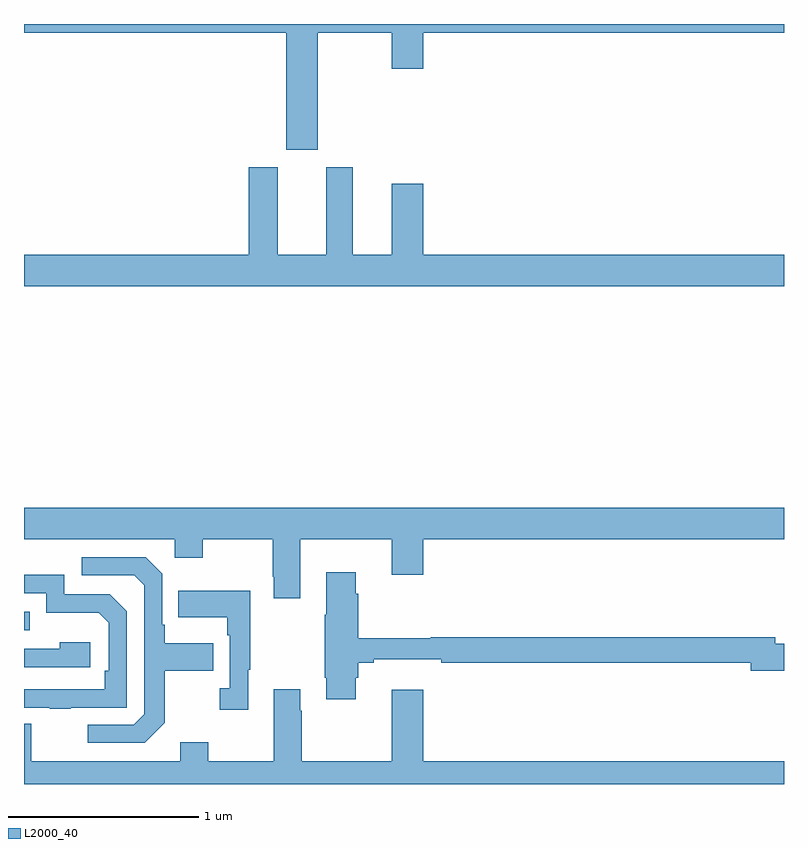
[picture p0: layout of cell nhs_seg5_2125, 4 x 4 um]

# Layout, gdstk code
import gdstk
lib = gdstk.Library(unit=1e-6, precision=1e-09)
def R(c, l, rs):  # rectangles x0, y0, x1, y1
    for r in rs: c.add(gdstk.rectangle(r[:2], r[2:], *l))
def P(c, l, *ps):  # polygons
    for p in ps: c.add(gdstk.Polygon(p, *l))
L2000_40 = (2000, 40)

nhs_seg5_2125 = lib.new_cell('nhs_seg5_2125')
R(nhs_seg5_2125, L2000_40, [(235,861.609,235.031,861.705)])
P(nhs_seg5_2125, L2000_40, [(236.545,864.752),(236.936,864.752),(236.936,864.564),(237.1,864.564),(237.1,864.752),(239,864.752),(239,864.799),(235,864.799),(235,864.752),(236.381,864.752),(236.381,864.138),(236.545,864.138)],
  [(239,863.584),(237.1,863.584),(237.1,863.959),(236.936,863.959),(236.936,863.584),(236.731,863.584),(236.731,864.046),(236.591,864.046),(236.591,863.584),(236.335,863.584),(236.335,864.046),(236.183,864.046),(236.183,863.584),(235,863.584),(235,863.42),(239,863.42)],
  [(236.455,862.088),(236.936,862.088),(236.936,861.9),(237.1,861.9),(237.1,862.088),(239,862.088),(239,862.252),(235,862.252),(235,862.088),(235.794,862.088),(235.794,861.989),(235.941,861.989),(235.941,862.088),(236.308,862.088),(236.308,861.889),(236.315,861.889),(236.315,861.777),(236.455,861.777)],
  [(235.741,861.121),(235.741,861.394),(235.997,861.394),(235.997,861.541),(235.741,861.541),(235.741,861.637),(235.728,861.637),(235.728,861.906),(235.641,861.993),(235.305,861.993),(235.305,861.897),(235.581,861.897),(235.632,861.846),(235.632,861.165),(235.578,861.111),(235.335,861.111),(235.335,861.015),(235.635,861.015)],
  [(236.746,861.359),(236.759,861.359),(236.759,861.436),(236.842,861.436),(236.842,861.455),(237.196,861.455),(237.196,861.436),(238.826,861.436),(238.826,861.394),(239,861.394),(239,861.536),(238.954,861.536),(238.954,861.572),(237.142,861.572),(237.142,861.565),(236.759,861.565),(236.759,861.8),(236.746,861.8),(236.746,861.913),(236.591,861.913),(236.591,861.689),(236.584,861.689),(236.584,861.358),(236.591,861.358),(236.591,861.246),(236.746,861.246)],
  [(235.247,861.201),(235.542,861.201),(235.542,861.708),(235.452,861.798),(235.212,861.798),(235.212,861.9),(235,861.9),(235,861.804),(235.116,861.804),(235.116,861.701),(235.393,861.701),(235.446,861.648),(235.446,861.394),(235.426,861.394),(235.426,861.297),(235,861.297),(235,861.201),(235.135,861.201),(235.135,861.196),(235.247,861.196)],
  [(236.179,861.401),(236.191,861.401),(236.191,861.817),(235.813,861.817),(235.813,861.677),(236.07,861.677),(236.07,861.581),(236.082,861.581),(236.082,861.302),(236.031,861.302),(236.031,861.189),(236.179,861.189)],
  [(235.348,861.544),(235.187,861.544),(235.187,861.51),(235,861.51),(235,861.414),(235.348,861.414)],
  [(239,860.92),(237.1,860.92),(237.1,861.295),(236.936,861.295),(236.936,860.92),(236.463,860.92),(236.463,861.185),(236.455,861.185),(236.455,861.298),(236.315,861.298),(236.315,860.92),(235.971,860.92),(235.971,861.019),(235.823,861.019),(235.823,860.92),(235.039,860.92),(235.039,861.115),(235,861.115),(235,860.799),(239,860.799)])

lib.write_gds('nhs_seg5_2125.gds')
